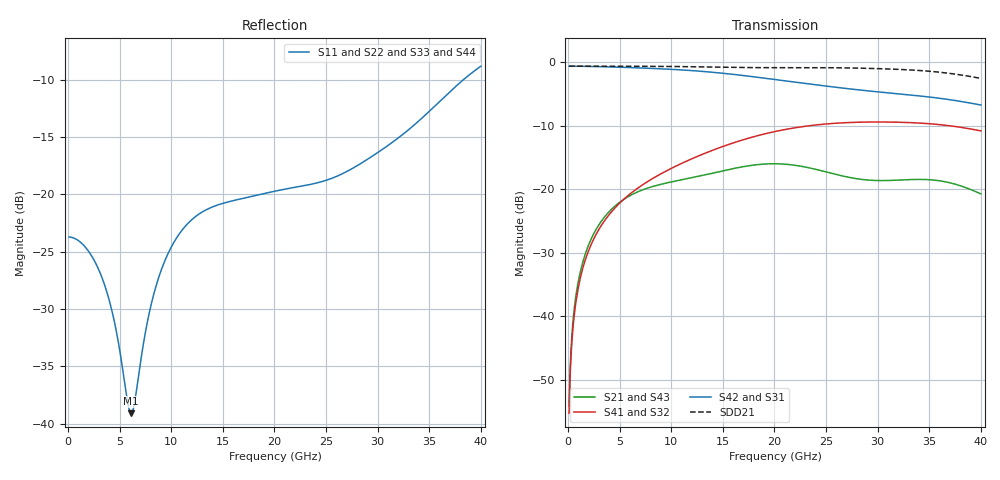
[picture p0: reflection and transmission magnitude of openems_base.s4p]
! E_s8_L1L8_p1000_round_g2: pair L1→L8, pitch 1 mm, two round antipads, 2 GND vias
! stackup: 8-layer 1.6 mm FR-4 (generic)
! ports: 1 P near, 2 N near, 3 P far, 4 N far
! openEMS 0.37.0, staircase, base mesh (dfine 0.035 mm), 768105 cells
# Hz S RI R 50
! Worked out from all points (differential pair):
!   400 points, 100 MHz to 40 GHz, reference 50 ohm
!   strongest paths, dB at 100 MHz, 10.1 GHz, 20.1 GHz, 30.1 GHz, 40 GHz:
!     S42: -0.6, -1.1, -2.7, -4.7, -6.7
!     S31: -0.6, -1.1, -2.7, -4.7, -6.7
!     S41: -55.3, -16.6, -10.9, -9.4, -10.8
!     S32: -55.3, -16.6, -10.9, -9.4, -10.8
!     S21: -54.2, -18.8, -16.0, -18.6, -20.7
!     S43: -54.2, -18.8, -16.0, -18.6, -20.7
!   taken as a pair (ports 2,1 in; 4,3 out), SDD21 dB: -0.6, -0.6, -0.8, -1.0, -2.5
!   lowest |S11| = -39.1 dB at 6.1 GHz (marker M1), VSWR 1.02, Z = 49.2 + j0.749 ohm
!   |S11| at or under -10 dB: start of sweep to 38.3 GHz
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1e8  -0.0652 0.00223  0.000426 0.00191  0.9336 -0.0363  -1.11e-05 -0.00171
     0.000426 0.00191  -0.0652 0.00223  -1.11e-05 -0.00171  0.9336 -0.0363
     0.9336 -0.0363  -1.24e-05 -0.00171  -0.0652 0.00223  0.000424 0.00191
     -1.24e-05 -0.00171  0.9336 -0.0363  0.000424 0.00191  -0.0652 0.00223
6.1e9  -0.00807 0.00761  0.0509 -0.0742  -0.6464 -0.641  -0.0517 0.0775
       0.0509 -0.0742  -0.00807 0.00761  -0.0517 0.0775  -0.6464 -0.641
       -0.6464 -0.641  -0.0517 0.0775  -0.00807 0.00761  0.0509 -0.0742
       -0.0517 0.0775  -0.6464 -0.641  0.0509 -0.0742  -0.00807 0.00761
1.2e10  0.000983 0.0777  -0.1203 0.0274  -0.062 0.8599  0.1704 -0.0354
        -0.1203 0.0274  0.000983 0.0777  0.1704 -0.0354  -0.062 0.8599
        -0.062 0.8599  0.1704 -0.0354  0.000983 0.0777  -0.1203 0.0274
        0.1704 -0.0354  -0.062 0.8599  -0.1203 0.0274  0.000983 0.0777
1.98e10  -0.00485 -0.1026  0.1563 -0.0281  0.1568 -0.7207  -0.2703 0.0816
         0.1563 -0.0281  -0.00485 -0.1026  -0.2703 0.0816  0.1568 -0.7207
         0.1568 -0.7207  -0.2703 0.0816  -0.00485 -0.1026  0.1563 -0.0281
         -0.2703 0.0816  0.1568 -0.7207  0.1563 -0.0281  -0.00485 -0.1026
2.83e10  -0.0739 0.114  -0.1031 0.0614  -0.1007 0.5972  0.2415 -0.2365
         -0.1031 0.0614  -0.0739 0.114  0.2415 -0.2365  -0.1007 0.5972
         -0.1007 0.5972  0.2415 -0.2365  -0.0739 0.114  -0.1031 0.0614
         0.2415 -0.2365  -0.1007 0.5972  -0.1031 0.0614  -0.0739 0.114
3.31e10  0.133 0.1401  0.1062 0.0541  0.5528 -0.04  -0.3176 -0.1079
         0.1062 0.0541  0.133 0.1401  -0.3176 -0.1079  0.5528 -0.04
         0.5528 -0.04  -0.3176 -0.1079  0.133 0.1401  0.1062 0.0541
         -0.3176 -0.1079  0.5528 -0.04  0.1062 0.0541  0.133 0.1401
4e10  0.0318 -0.3611  -0.0858 -0.033  -0.4259 -0.1777  0.249 0.1459
      -0.0858 -0.033  0.0318 -0.3611  0.249 0.1459  -0.4259 -0.1777
      -0.4259 -0.1777  0.249 0.1459  0.0318 -0.3611  -0.0858 -0.033
      0.249 0.1459  -0.4259 -0.1777  -0.0858 -0.033  0.0318 -0.3611
